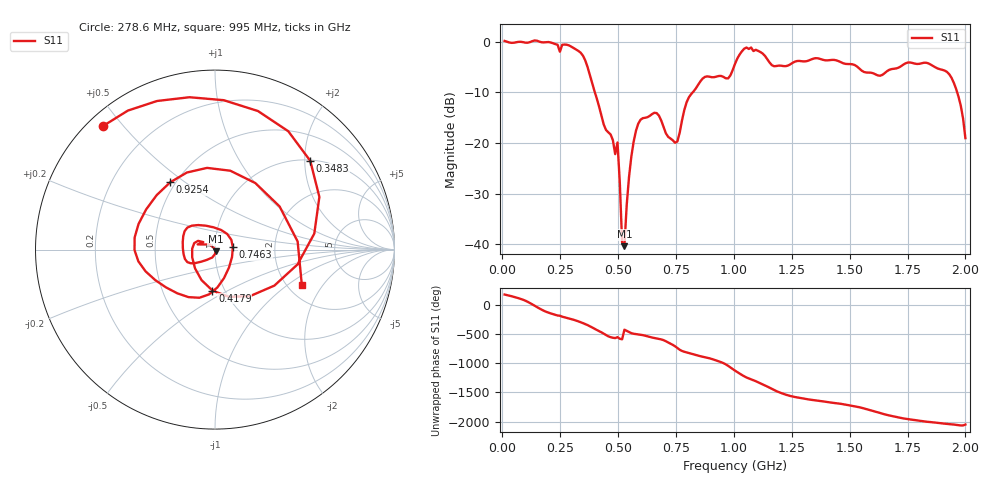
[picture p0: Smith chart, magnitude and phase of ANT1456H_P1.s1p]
!Created with skrf (http://scikit-rf.org).
# Hz S RI R 50.0
!freq ReS11 ImS11
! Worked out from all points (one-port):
!   201 points, 10 MHz to 2 GHz, reference 50 ohm
!   lowest |S11| = -40.4 dB at 527.4 MHz (marker M1), VSWR 1.02, Z = 50.3 - j0.905 ohm
!   |S11| at or under -10 dB: 399.6 MHz to 823.1 MHz (423.5 MHz wide, 69.3 % of centre); 1.964 GHz to end of sweep
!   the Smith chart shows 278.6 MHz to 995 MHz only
!   S11 on the Smith chart (normalised r, x): 278.6 MHz: 0.04, +0.44; 348.3 MHz: 1.02, +2.13; 417.9 MHz: 0.88, -0.42; 746.3 MHz: 1.22, +0.03; 925.4 MHz: 0.47, +0.44; 995 MHz: 2.38, -1.30
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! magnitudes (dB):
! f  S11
! 10 MHz  0.1
! 258.8 MHz  -0.6
! 278.6 MHz  -0.6
! 348.3 MHz  -2.8
! 417.9 MHz  -12.8
! 487.6 MHz  -22.2
! 497.6 MHz  -19.9
! 507.5 MHz  -27.8
! 517.5 MHz  -39.7
! 527.4 MHz  -40.4
! 547.3 MHz  -26.7
! 587.1 MHz  -16.2
! 666.7 MHz  -14.1
! 746.3 MHz  -20.0
! 756.2 MHz  -19.7
! 806 MHz  -11.0
! 925.4 MHz  -6.9
! 995 MHz  -5.6
! 1.005 GHz  -4.4
! 1.055 GHz  -1.2
! 1.174 GHz  -4.9
! 1.254 GHz  -4.2
! 1.502 GHz  -4.5
! 1.632 GHz  -6.8
! 1.751 GHz  -4.2
! 1.93 GHz  -6.5
! 1.98 GHz  -12.7
! 2 GHz  -19.1
